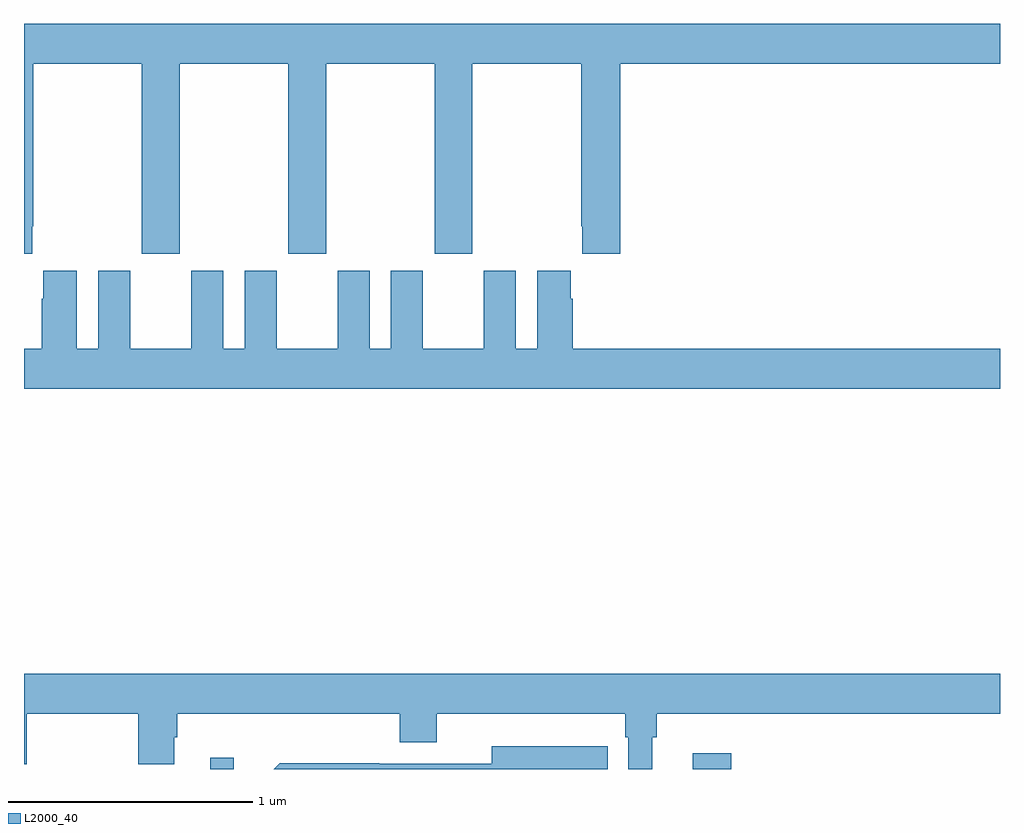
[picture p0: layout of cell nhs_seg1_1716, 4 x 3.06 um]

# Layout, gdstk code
import gdstk
lib = gdstk.Library(unit=1e-6, precision=1e-09)
def R(c, l, rs):  # rectangles x0, y0, x1, y1
    for r in rs: c.add(gdstk.rectangle(r[:2], r[2:], *l))
def P(c, l, *ps):  # polygons
    for p in ps: c.add(gdstk.Polygon(p, *l))
L2000_40 = (2000, 40)

nhs_seg1_1716 = lib.new_cell('nhs_seg1_1716')
R(nhs_seg1_1716, L2000_40, [(205.763,522.199,205.86,522.246), (207.74,522.199,207.899,522.265)])
P(nhs_seg1_1716, L2000_40, [(205.033,524.425),(205.038,524.425),(205.038,525.092),(205.483,525.092),(205.483,524.313),(205.638,524.313),(205.638,525.092),(206.083,525.092),(206.083,524.313),(206.238,524.313),(206.238,525.092),(206.683,525.092),(206.683,524.313),(206.838,524.313),(206.838,525.092),(207.283,525.092),(207.283,524.425),(207.287,524.425),(207.287,524.313),(207.443,524.313),(207.443,525.092),(209,525.092),(209,525.256),(205,525.256),(205,524.313),(205.033,524.313)],
  [(209,523.924),(207.248,523.924),(207.248,524.129),(207.241,524.129),(207.241,524.242),(207.104,524.242),(207.104,523.924),(207.016,523.924),(207.016,524.242),(206.885,524.242),(206.885,523.924),(206.635,523.924),(206.635,524.242),(206.504,524.242),(206.504,523.924),(206.416,523.924),(206.416,524.242),(206.285,524.242),(206.285,523.924),(206.035,523.924),(206.035,524.242),(205.904,524.242),(205.904,523.924),(205.816,523.924),(205.816,524.242),(205.685,524.242),(205.685,523.924),(205.435,523.924),(205.435,524.242),(205.304,524.242),(205.304,523.924),(205.216,523.924),(205.216,524.242),(205.079,524.242),(205.079,524.129),(205.073,524.129),(205.073,523.924),(205,523.924),(205,523.76),(209,523.76)],
  [(207.574,522.332),(207.593,522.332),(207.593,522.428),(209,522.428),(209,522.592),(205,522.592),(205,522.22),(205.011,522.22),(205.011,522.428),(205.468,522.428),(205.468,522.22),(205.615,522.22),(205.615,522.33),(205.628,522.33),(205.628,522.428),(206.54,522.428),(206.54,522.311),(206.692,522.311),(206.692,522.428),(207.464,522.428),(207.464,522.332),(207.477,522.332),(207.477,522.199),(207.574,522.199)],
  [(207.392,522.294),(207.284,522.294),(207.284,522.295),(206.916,522.295),(206.916,522.222),(206.456,522.222),(206.456,522.224),(206.048,522.224),(206.023,522.199),(207.392,522.199)])

lib.write_gds('nhs_seg1_1716.gds')
